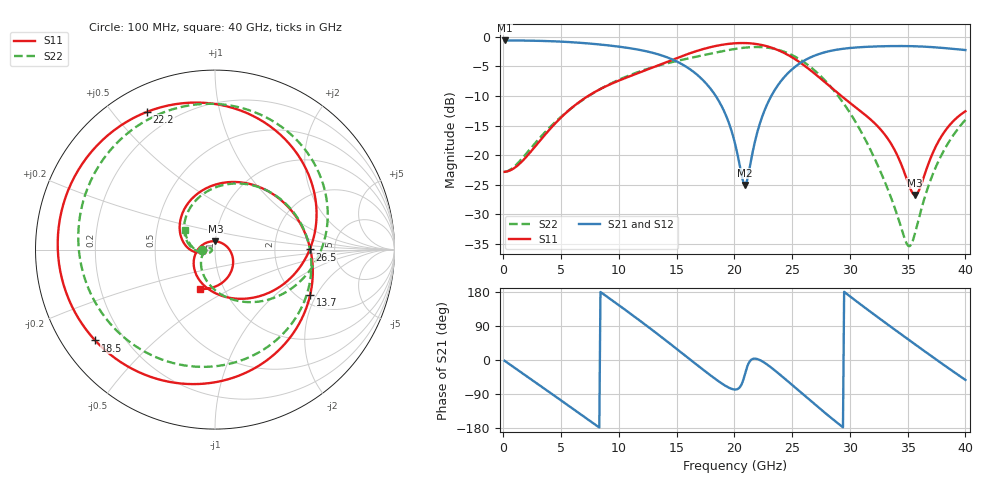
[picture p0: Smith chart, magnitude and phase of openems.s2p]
! B_s8_L1L3_stub_d300: L1→L3, through via (stub to L8), drill Ø0.3
! stackup: 8-layer 1.6 mm FR-4 (generic)
! ports: 1, 2
! openEMS 0.37.0, staircase, fine mesh (dfine 0.0175 mm), 1314180 cells
# Hz S RI R 50
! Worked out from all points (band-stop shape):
!   400 points, 100 MHz to 40 GHz, reference 50 ohm
!   highest |S21| = -0.65 dB at 100 MHz (marker M1); lowest = -25.0 dB at 20.9 GHz (marker M2)
!   |S21| within 3 dB of the highest: start of sweep to 14.37 GHz; 26.43 GHz to end of sweep
!   lowest |S11| = -26.7 dB at 35.6 GHz (marker M3), VSWR 1.10, Z = 50 + j4.62 ohm
!   |S11| at or under -10 dB: start of sweep to 7.346 GHz; 29.25 GHz to end of sweep
!   |S22| runs from -35.3 to -1.8 dB; largest |S21 - S12| = 0.0036
!   S11 on the Smith chart (normalised r, x): 100 MHz: 0.87, -0.00; 13.7 GHz: 2.30, -1.78; 18.5 GHz: 0.10, -0.33; 22.2 GHz: 0.11, +0.62; 26.5 GHz: 3.24, +0.01; 40 GHz: 0.77, -0.36
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1e8  -0.0724 -0.000998  0.9269 -0.0344  0.9269 -0.0344  -0.0723 -0.000965
3.6e9  -0.1486 0.00699  0.21 -0.8933  0.2099 -0.8933  -0.1516 0.0378
6.8e9  -0.1602 0.2437  -0.7305 -0.498  -0.7302 -0.4976  -0.1138 0.2663
8.7e9  0.0423 0.3717  -0.8443 0.1038  -0.8437 0.1035  0.0823 0.3662
1.07e10  0.3454 0.2934  -0.5053 0.6261  -0.5058 0.6251  0.3716 0.276
1.34e10  0.5417 -0.184  0.2744 0.6532  0.2737 0.6547  0.5132 -0.2445
1.37e10  0.5302 -0.253  0.3452 0.6018  0.3448 0.6035  0.4858 -0.315
1.62e10  0.0714 -0.723  0.5264 0.00363  0.5282 0.00299  -0.106 -0.6522
1.85e10  -0.6676 -0.5062  0.1806 -0.2431  0.1797 -0.244  -0.7033 -0.2208
2.01e10  -0.8746 0.0853  0.0251 -0.1174  0.0246 -0.1172  -0.7105 0.3409
2.09e10  -0.7822 0.4073  0.0438 -0.0351  0.0435 -0.0351  -0.5531 0.5873
2.22e10  -0.3784 0.7677  0.1845 -0.000464  0.1837 -0.000448  -0.1353 0.8046
2.45e10  0.4373 0.5614  0.2873 -0.3802  0.2885 -0.3782  0.5503 0.4844
2.65e10  0.5279 0.000867  -0.1742 -0.6385  -0.1719 -0.6409  0.5584 -0.0704
2.67e10  0.5078 -0.0422  -0.2358 -0.633  -0.234 -0.6358  0.5312 -0.1122
2.84e10  0.2718 -0.252  -0.6798 -0.341  -0.6824 -0.3434  0.2303 -0.2913
2.99e10  0.0827 -0.2688  -0.7885 0.132  -0.7914 0.133  0.0127 -0.2355
3.34e10  -0.1181 -0.0598  -0.0123 0.831  -0.0119 0.8325  -0.0483 0.000231
3.5e10  -0.045 0.0396  0.4724 0.6842  0.474 0.6858  -0.0174 0.00139
3.56e10  0.00261 0.0461  0.6146 0.5562  0.6169 0.5572  -0.0195 -0.00839
3.77e10  0.0997 -0.087  0.8056 -0.052  0.8074 -0.0545  -0.0894 -0.0131
4e10  -0.0851 -0.2185  0.4678 -0.6115  0.4656 -0.6127  -0.1676 0.1065
